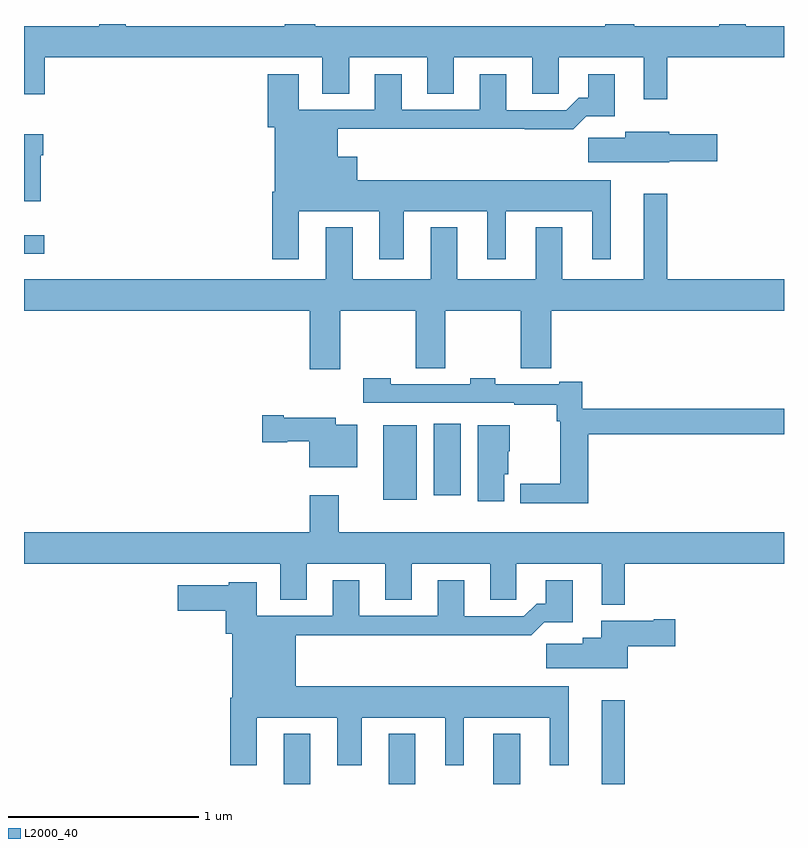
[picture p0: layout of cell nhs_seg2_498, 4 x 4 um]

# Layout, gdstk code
import gdstk
lib = gdstk.Library(unit=1e-6, precision=1e-09)
def R(c, l, rs):  # rectangles x0, y0, x1, y1
    for r in rs: c.add(gdstk.rectangle(r[:2], r[2:], *l))
def A(c, l, x, y, w, h, nx, ny, dx, dy):  # array of equal rectangles
    R(c, l, [(x+i*dx, y+j*dy, x+i*dx+w, y+j*dy+h) for i in range(nx) for j in range(ny)])
def P(c, l, *ps):  # polygons
    for p in ps: c.add(gdstk.Polygon(p, *l))
L2000_40 = (2000, 40)

nhs_seg2_498 = lib.new_cell('nhs_seg2_498')
A(nhs_seg2_498, L2000_40, 136.367, 655.8, 0.14, 0.265, 3, 1, 0.552, 0)
R(nhs_seg2_498, L2000_40, [(138.041,655.8,138.163,656.242), (136.892,657.296,137.068,657.688), (137.156,657.321,137.299,657.697), (135,658.592,135.106,658.689)])
P(nhs_seg2_498, L2000_40, [(138.385,659.624),(139,659.624),(139,659.788),(138.799,659.788),(138.799,659.8),(138.659,659.8),(138.659,659.788),(138.211,659.788),(138.211,659.8),(138.059,659.8),(138.059,659.788),(136.532,659.788),(136.532,659.8),(136.372,659.8),(136.372,659.788),(135.535,659.788),(135.535,659.8),(135.395,659.8),(135.395,659.788),(135,659.788),(135,659.43),(135.11,659.43),(135.11,659.624),(136.571,659.624),(136.571,659.434),(136.711,659.434),(136.711,659.624),(137.123,659.624),(137.123,659.434),(137.263,659.434),(137.263,659.624),(137.675,659.624),(137.675,659.434),(137.814,659.434),(137.814,659.624),(138.263,659.624),(138.263,659.403),(138.385,659.403)],
  [(136.447,658.814),(136.871,658.814),(136.871,658.563),(136.999,658.563),(136.999,658.814),(137.438,658.814),(137.438,658.563),(137.536,658.563),(137.536,658.814),(137.99,658.814),(137.99,658.563),(138.088,658.563),(138.088,658.978),(136.753,658.978),(136.753,659.101),(136.651,659.101),(136.651,659.248),(137.635,659.248),(137.635,659.246),(137.891,659.246),(137.96,659.315),(138.109,659.315),(138.109,659.536),(137.969,659.536),(137.969,659.413),(137.92,659.413),(137.853,659.346),(137.539,659.346),(137.539,659.536),(137.399,659.536),(137.399,659.349),(136.987,659.349),(136.987,659.536),(136.847,659.536),(136.847,659.349),(136.447,659.349),(136.447,659.536),(136.283,659.536),(136.283,659.256),(136.319,659.256),(136.319,658.918),(136.307,658.918),(136.307,658.563),(136.447,658.563)],
  [(138.396,659.078),(138.649,659.078),(138.649,659.22),(138.396,659.22),(138.396,659.233),(138.164,659.233),(138.164,659.201),(137.97,659.201),(137.97,659.072),(138.396,659.072)],
  [(135.088,659.108),(135.101,659.108),(135.101,659.221),(135,659.221),(135,658.868),(135.088,658.868)],
  [(136.665,658.292),(137.062,658.292),(137.062,657.988),(137.216,657.988),(137.216,658.292),(137.614,658.292),(137.614,657.988),(137.774,657.988),(137.774,658.292),(139,658.292),(139,658.456),(138.385,658.456),(138.385,658.906),(138.263,658.906),(138.263,658.456),(137.833,658.456),(137.833,658.729),(137.693,658.729),(137.693,658.456),(137.281,658.456),(137.281,658.729),(137.141,658.729),(137.141,658.456),(136.729,658.456),(136.729,658.729),(136.589,658.729),(136.589,658.456),(135,658.456),(135,658.292),(136.505,658.292),(136.505,657.984),(136.665,657.984)],
  [(137.969,657.64),(139,657.64),(139,657.776),(137.939,657.776),(137.939,657.916),(137.816,657.916),(137.816,657.903),(137.481,657.903),(137.481,657.936),(137.349,657.936),(137.349,657.903),(136.929,657.903),(136.929,657.936),(136.785,657.936),(136.785,657.807),(137.581,657.807),(137.581,657.795),(137.803,657.795),(137.803,657.71),(137.822,657.71),(137.822,657.38),(137.613,657.38),(137.613,657.278),(137.969,657.278)],
  [(136.753,657.691),(136.642,657.691),(136.642,657.727),(136.366,657.727),(136.366,657.74),(136.254,657.74),(136.254,657.598),(136.386,657.598),(136.386,657.605),(136.502,657.605),(136.502,657.467),(136.753,657.467)],
  [(137.527,657.429),(137.548,657.429),(137.548,657.552),(137.557,657.552),(137.557,657.688),(137.387,657.688),(137.387,657.288),(137.527,657.288)],
  [(138.163,656.96),(139,656.96),(139,657.124),(136.657,657.124),(136.657,657.319),(136.505,657.319),(136.505,657.124),(135,657.124),(135,656.96),(136.349,656.96),(136.349,656.77),(136.489,656.77),(136.489,656.96),(136.901,656.96),(136.901,656.77),(137.041,656.77),(137.041,656.96),(137.453,656.96),(137.453,656.77),(137.592,656.77),(137.592,656.96),(138.041,656.96),(138.041,656.744),(138.163,656.744)],
  [(136.225,656.15),(136.649,656.15),(136.649,655.899),(136.777,655.899),(136.777,656.15),(137.216,656.15),(137.216,655.899),(137.314,655.899),(137.314,656.15),(137.768,656.15),(137.768,655.899),(137.866,655.899),(137.866,656.314),(136.429,656.314),(136.429,656.584),(137.413,656.584),(137.413,656.582),(137.669,656.582),(137.738,656.651),(137.887,656.651),(137.887,656.872),(137.747,656.872),(137.747,656.749),(137.698,656.749),(137.631,656.682),(137.317,656.682),(137.317,656.872),(137.177,656.872),(137.177,656.685),(136.765,656.685),(136.765,656.872),(136.625,656.872),(136.625,656.685),(136.225,656.685),(136.225,656.863),(136.077,656.863),(136.077,656.845),(135.81,656.845),(135.81,656.711),(136.061,656.711),(136.061,656.592),(136.097,656.592),(136.097,656.254),(136.085,656.254),(136.085,655.899),(136.225,655.899)],
  [(138.178,656.525),(138.427,656.525),(138.427,656.667),(138.314,656.667),(138.314,656.659),(138.038,656.659),(138.038,656.569),(137.942,656.569),(137.942,656.537),(137.748,656.537),(137.748,656.408),(138.178,656.408)])

lib.write_gds('nhs_seg2_498.gds')
